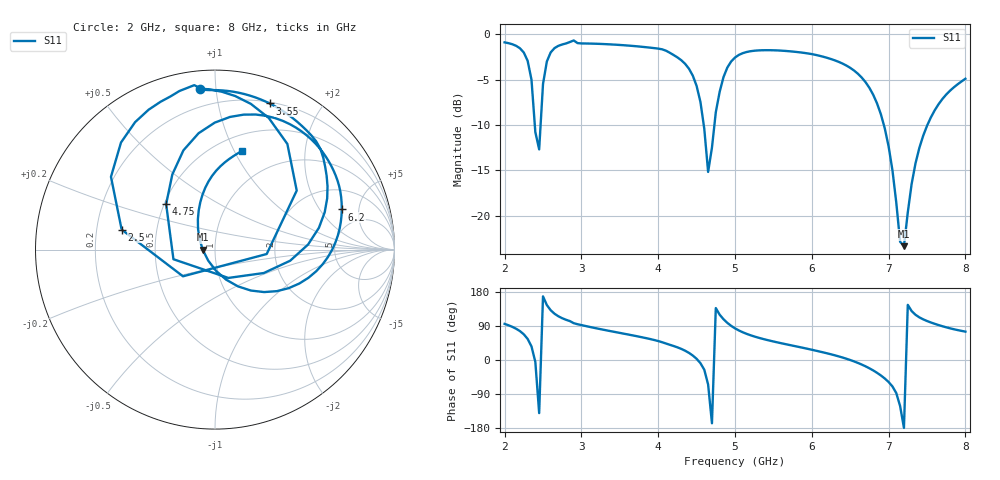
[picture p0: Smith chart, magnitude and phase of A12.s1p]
! Generated by Hertzon (EMerge FEM)
# HZ S RI R 50
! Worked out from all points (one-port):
!   121 points, 2 GHz to 8 GHz, reference 50 ohm
!   lowest |S11| = -23.3 dB at 7.2 GHz (marker M1), VSWR 1.15, Z = 43.6 - j0.0771 ohm
!   |S11| at or under -10 dB: 2.393 GHz to 2.469 GHz (75.35 MHz wide, 3.1 % of centre); 4.593 GHz to 4.732 GHz (138.9 MHz wide, 2.98 % of centre); 6.938 GHz to 7.505 GHz (566.7 MHz wide, 7.85 % of centre)
!   S11 on the Smith chart (normalised r, x): 2 GHz: 0.09, +0.91; 2.5 GHz: 0.31, +0.10; 3.55 GHz: 0.21, +1.42; 4.75 GHz: 0.51, +0.30; 6.2 GHz: 3.31, +3.28; 8 GHz: 0.66, +1.07
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2e9  -0.0835 0.8975
2.25e9  0.2996 0.7335
2.35e9  0.4553 0.329
2.4e9  0.2881 -0.0246
2.45e9  -0.1784 -0.1488
2.5e9  -0.5202 0.1116
2.6e9  -0.5238 0.5965
2.75e9  -0.3038 0.8234
3.5e9  0.2769 0.8272
3.55e9  0.3037 0.8145
4.25e9  0.622 0.4105
4.5e9  0.5186 0.0283
4.65e9  0.0744 -0.1579
4.7e9  -0.2315 -0.0537
4.75e9  -0.2722 0.2534
4.85e9  -0.1761 0.5529
5e9  0.0837 0.7391
5.3e9  0.4175 0.6986
5.75e9  0.633 0.4929
6.2e9  0.7063 0.2237
6.5e9  0.6529 -0.00027
6.9e9  0.2737 -0.2367
7.05e9  0.0618 -0.1674
7.15e9  -0.0378 -0.0613
7.2e9  -0.0681 -0.000879
7.25e9  -0.0863 0.0592
7.5e9  -0.07 0.305
8e9  0.1486 0.5487
